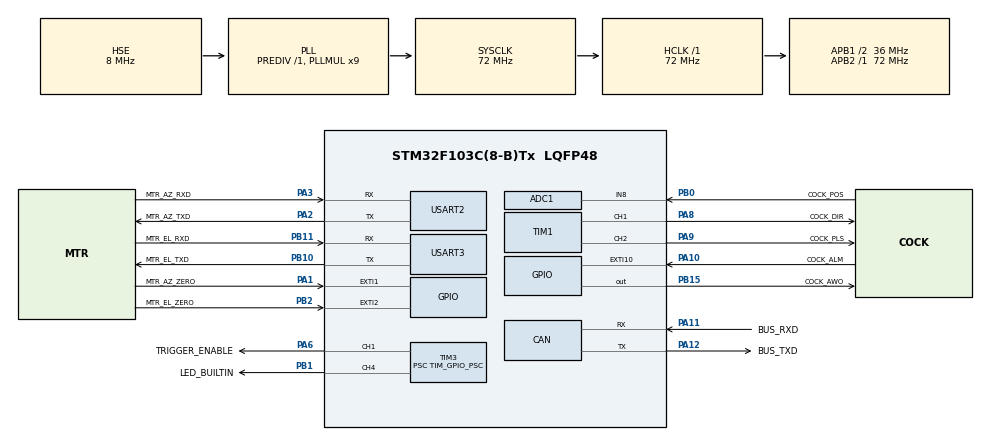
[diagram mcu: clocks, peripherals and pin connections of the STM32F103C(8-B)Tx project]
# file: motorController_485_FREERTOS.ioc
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ADC1.Channel-0\#ChannelRegularConversion=ADC_CHANNEL_8
ADC1.NbrOfConversionFlag=1
ADC1.Rank-0\#ChannelRegularConversion=1
ADC1.SamplingTime-0\#ChannelRegularConversion=ADC_SAMPLETIME_1CYCLE_5
ADC1.master=1
CAN.CalculateTimeBit=1333
CAN.CalculateTimeQuantum=444.44444444444446
FREERTOS.Mutexes01=AzUartRxMutex,Dynamic,NULL;AzUartTxMutex,Dynamic,NULL;ElUartRxMutex,Dynamic,NULL;ElUartTxMutex,Dynamic,NULL
FREERTOS.Tasks01=defaultTask,0,128,ThreadMain,Default,NULL,Dynamic,NULL,NULL;AzMainTask,-3,128,ThreadAzMain,Default,NULL,Dynamic,NULL,NULL;ElMainTask,-3,128,ThreadElMain,Default,NULL,Dynamic,NULL,NULL
Mcu.Family=STM32F1
Mcu.Name=STM32F103C(8-B)Tx
Mcu.Package=LQFP48
Mcu.UserConstants=TIM_GPIO_PSC,71;TIM_GPIO_ON,1000;TIM_GPIO_OFF,0
NVIC.CAN1_RX1_IRQn=true\:8\:0\:true\:false\:true\:true\:true
NVIC.EXTI1_IRQn=true\:11\:0\:true\:false\:true\:true\:true
NVIC.EXTI2_IRQn=true\:12\:0\:true\:false\:true\:true\:true
NVIC.PriorityGroup=NVIC_PRIORITYGROUP_4
NVIC.TIM4_IRQn=true\:0\:0\:false\:false\:true\:false\:false
NVIC.TimeBase=TIM4_IRQn
NVIC.TimeBaseIP=TIM4
NVIC.USART2_IRQn=true\:9\:0\:true\:false\:false\:true\:true
NVIC.USART3_IRQn=true\:10\:0\:true\:false\:false\:true\:true
NVIC.USB_HP_CAN1_TX_IRQn=true\:6\:0\:true\:false\:true\:true\:true
NVIC.USB_LP_CAN1_RX0_IRQn=true\:7\:0\:true\:false\:true\:true\:true
PA1.GPIO_Label=MTR_AZ_ZERO
PA1.GPIO_ModeDefaultEXTI=GPIO_MODE_IT_FALLING
PA1.GPIO_PuPd=GPIO_PULLUP
PA1.Signal=GPXTI1
PA10.GPIO_Label=COCK_ALM
PA10.GPIO_ModeDefaultEXTI=GPIO_MODE_IT_FALLING
PA10.GPIO_PuPd=GPIO_PULLUP
PA10.Signal=GPXTI10
PA11.GPIO_Label=BUS_RXD
PA11.GPIO_PuPd=GPIO_PULLUP
PA11.Mode=Master
PA11.Signal=CAN_RX
PA12.GPIO_Label=BUS_TXD
PA12.Mode=Master
PA12.Signal=CAN_TX
PA13.Mode=Serial_Wire
PA13.Signal=SYS_JTMS-SWDIO
PA14.Mode=Serial_Wire
PA14.Signal=SYS_JTCK-SWCLK
PA2.GPIO_Label=MTR_AZ_TXD
PA2.Mode=Asynchronous
PA2.Signal=USART2_TX
PA3.GPIO_Label=MTR_AZ_RXD
PA3.Mode=Asynchronous
PA3.Signal=USART2_RX
PA6.GPIO_Label=TRIGGER_ENABLE
PA6.GPIO_Speed=GPIO_SPEED_FREQ_HIGH
PA6.Signal=S_TIM3_CH1
PA8.GPIO_Label=COCK_DIR
PA8.GPIO_Speed=GPIO_SPEED_FREQ_HIGH
PA8.Signal=S_TIM1_CH1
PA9.GPIO_Label=COCK_PLS
PA9.GPIO_Speed=GPIO_SPEED_FREQ_HIGH
PA9.Signal=S_TIM1_CH2
PB0.GPIO_Label=COCK_POS
PB0.Signal=ADCx_IN8
PB1.GPIO_Label=LED_BUILTIN
PB1.GPIO_Speed=GPIO_SPEED_FREQ_MEDIUM
PB1.Signal=S_TIM3_CH4
PB10.GPIO_Label=MTR_EL_TXD
PB10.Mode=Asynchronous
PB10.Signal=USART3_TX
PB11.GPIO_Label=MTR_EL_RXD
PB11.Mode=Asynchronous
PB11.Signal=USART3_RX
PB15.GPIO_Label=COCK_AWO
PB15.GPIO_PuPd=GPIO_PULLUP
PB15.GPIO_Speed=GPIO_SPEED_FREQ_MEDIUM
PB15.Signal=GPIO_Output
PB2.GPIO_Label=MTR_EL_ZERO
PB2.GPIO_ModeDefaultEXTI=GPIO_MODE_IT_FALLING
PB2.GPIO_PuPd=GPIO_PULLUP
PB2.Signal=GPXTI2
PD0-OSC_IN.Mode=HSE-External-Oscillator
PD0-OSC_IN.Signal=RCC_OSC_IN
PD1-OSC_OUT.Mode=HSE-External-Oscillator
PD1-OSC_OUT.Signal=RCC_OSC_OUT
ProjectManager.HeapSize=0x200
ProjectManager.StackSize=0x400
ProjectManager.TargetToolchain=TrueSTUDIO
RCC.ADCPresc=RCC_ADCPCLK2_DIV6
RCC.AHBFreq_Value=72000000
RCC.APB1CLKDivider=RCC_HCLK_DIV2
RCC.APB1Freq_Value=36000000
RCC.APB1TimFreq_Value=72000000
RCC.APB2Freq_Value=72000000
RCC.APB2TimFreq_Value=72000000
RCC.HCLKFreq_Value=72000000
RCC.PLLMUL=RCC_PLL_MUL9
RCC.PLLSourceVirtual=RCC_PLLSOURCE_HSE
RCC.SYSCLKFreq_VALUE=72000000
RCC.SYSCLKSource=RCC_SYSCLKSOURCE_PLLCLK
RCC.USBFreq_Value=48000000
RCC.USBPrescaler=RCC_USBCLKSOURCE_PLL_DIV1_5
SH.ADCx_IN8.0=ADC1_IN8,IN8
SH.S_TIM1_CH1.0=TIM1_CH1,PWM Generation1 CH1
SH.S_TIM1_CH2.0=TIM1_CH2,PWM Generation2 CH2
SH.S_TIM3_CH1.0=TIM3_CH1,PWM Generation1 CH1
SH.S_TIM3_CH4.0=TIM3_CH4,PWM Generation4 CH4
TIM1.Channel-PWM\ Generation1\ CH1=TIM_CHANNEL_1
TIM1.Channel-PWM\ Generation2\ CH2=TIM_CHANNEL_2
TIM3.Channel-PWM\ Generation1\ CH1=TIM_CHANNEL_1
TIM3.Channel-PWM\ Generation4\ CH4=TIM_CHANNEL_4
TIM3.OCFastMode_PWM-PWM\ Generation4\ CH4=TIM_OCFAST_ENABLE
TIM3.Period=(TIM_GPIO_ON - 1)
TIM3.Prescaler=TIM_GPIO_PSC
TIM3.Pulse-PWM\ Generation4\ CH4=TIM_GPIO_OFF
USART2.VirtualMode=VM_ASYNC
USART3.VirtualMode=VM_ASYNC
VP_FREERTOS_VS_ENABLE.Mode=Enabled
VP_SYS_VS_tim4.Mode=TIM4
VP_TIM1_VS_ClockSourceINT.Mode=Internal
VP_TIM3_VS_ClockSourceINT.Mode=Internal
board=custom

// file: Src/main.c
/**
 ******************************************************************************
 * @file           : main.c
 * @brief          : Main program body
 ******************************************************************************
 * This notice applies to any and all portions of this file
 * that are not between comment pairs USER CODE BEGIN and
 * USER CODE END. Other portions of this file, whether
 * inserted by the user or by software development tools
 * are owned by their respective copyright owners.
 *
 * Copyright (c) 2018 STMicroelectronics International N.V.
 * All rights reserved.
 *
 * Redistribution and use in source and binary forms, with or without
 * modification, are permitted, provided that the following conditions are met:
 *
 * 1. Redistribution of source code must retain the above copyright notice,
 *    this list of conditions and the following disclaimer.
 * 2. Redistributions in binary form must reproduce the above copyright notice,
 *    this list of conditions and the following disclaimer in the documentation
 *    and/or other materials provided with the distribution.
 * 3. Neither the name of STMicroelectronics nor the names of other
 *    contributors to this software may be used to endorse or promote products
 *    derived from this software without specific written permission.
 * 4. This software, including modifications and/or derivative works of this
 *    software, must execute solely and exclusively on microcontroller or
 *    microprocessor devices manufactured by or for STMicroelectronics.
 * 5. Redistribution and use of this software other than as permitted under
 *    this license is void and will automatically terminate your rights under
 *    this license.
 *
 * THIS SOFTWARE IS PROVIDED BY STMICROELECTRONICS AND CONTRIBUTORS "AS IS"
 * AND ANY EXPRESS, IMPLIED OR STATUTORY WARRANTIES, INCLUDING, BUT NOT
 * LIMITED TO, THE IMPLIED WARRANTIES OF MERCHANTABILITY, FITNESS FOR A
 * PARTICULAR PURPOSE AND NON-INFRINGEMENT OF THIRD PARTY INTELLECTUAL PROPERTY
 * RIGHTS ARE DISCLAIMED TO THE FULLEST EXTENT PERMITTED BY LAW. IN NO EVENT
 * SHALL STMICROELECTRONICS OR CONTRIBUTORS BE LIABLE FOR ANY DIRECT, INDIRECT,
 * INCIDENTAL, SPECIAL, EXEMPLARY, OR CONSEQUENTIAL DAMAGES (INCLUDING, BUT NOT
 * LIMITED TO, PROCUREMENT OF SUBSTITUTE GOODS OR SERVICES; LOSS OF USE, DATA,
 * OR PROFITS; OR BUSINESS INTERRUPTION) HOWEVER CAUSED AND ON ANY THEORY OF
 * LIABILITY, WHETHER IN CONTRACT, STRICT LIABILITY, OR TORT (INCLUDING
 * NEGLIGENCE OR OTHERWISE) ARISING IN ANY WAY OUT OF THE USE OF THIS SOFTWARE,
 * EVEN IF ADVISED OF THE POSSIBILITY OF SUCH DAMAGE.
 *
 ******************************************************************************
 */
#include "main.h"
#include "stm32f1xx_hal.h"
#include "cmsis_os.h"

/* USER CODE BEGIN Includes */
#include <string.h>
/* USER CODE END Includes */

ADC_HandleTypeDef hadc1;

CAN_HandleTypeDef hcan;

TIM_HandleTypeDef htim1;
TIM_HandleTypeDef htim3;

UART_HandleTypeDef huart2;
UART_HandleTypeDef huart3;

osThreadId defaultTaskHandle;
osThreadId AzMainTaskHandle;
osThreadId ElMainTaskHandle;
osMutexId AzUartRxMutexHandle;
osMutexId AzUartTxMutexHandle;
osMutexId ElUartRxMutexHandle;
osMutexId ElUartTxMutexHandle;

/* USER CODE BEGIN PV */
/* Private variables ---------------------------------------------------------*/
/* TODO Global Variables*/

/* USER CODE END PV */

void SystemClock_Config(void);
static void MX_GPIO_Init(void);
static void MX_CAN_Init(void);
static void MX_USART3_UART_Init(void);
static void MX_TIM3_Init(void);
static void MX_ADC1_Init(void);
static void MX_TIM1_Init(void);
static void MX_USART2_UART_Init(void);
void ThreadMain(void const * argument);
void ThreadAzMain(void const * argument);
void ThreadElMain(void const * argument);

void HAL_TIM_MspPostInit(TIM_HandleTypeDef *htim);

/* USER CODE BEGIN PFP */
/* Private function prototypes -----------------------------------------------*/
/* TODO Function Prototypes*/

/* USER CODE END PFP */

int main(void)
{

	/* MCU Configuration----------------------------------------------------------*/

	/* Reset of all peripherals, Initializes the Flash interface and the Systick. */
	HAL_Init();

	/* Configure the system clock */
	SystemClock_Config();

	/* Initialize all configured peripherals */
	MX_GPIO_Init();
	MX_CAN_Init();
	MX_USART3_UART_Init();
	MX_TIM3_Init();
	MX_ADC1_Init();
	MX_TIM1_Init();
	MX_USART2_UART_Init();
	/* USER CODE BEGIN 2 */
	/* TODO Initialization*/

	/* USER CODE END 2 */

	/* Create the mutex(es) */
	/* definition and creation of AzUartRxMutex */
	osMutexDef(AzUartRxMutex);
	AzUartRxMutexHandle = osMutexCreate(osMutex(AzUartRxMutex));

	/* definition and creation of AzUartTxMutex */
	osMutexDef(AzUartTxMutex);
	AzUartTxMutexHandle = osMutexCreate(osMutex(AzUartTxMutex));

	/* definition and creation of ElUartRxMutex */
	osMutexDef(ElUartRxMutex);
	ElUartRxMutexHandle = osMutexCreate(osMutex(ElUartRxMutex));

	/* definition and creation of ElUartTxMutex */
	osMutexDef(ElUartTxMutex);
	ElUartTxMutexHandle = osMutexCreate(osMutex(ElUartTxMutex));

	/* Create the thread(s) */
	/* definition and creation of defaultTask */
	osThreadDef(defaultTask, ThreadMain, osPriorityNormal, 0, 128);
	defaultTaskHandle = osThreadCreate(osThread(defaultTask), NULL);

	/* definition and creation of AzMainTask */
	osThreadDef(AzMainTask, ThreadAzMain, osPriorityIdle, 0, 128);
	AzMainTaskHandle = osThreadCreate(osThread(AzMainTask), NULL);

	/* definition and creation of ElMainTask */
	osThreadDef(ElMainTask, ThreadElMain, osPriorityIdle, 0, 128);
	ElMainTaskHandle = osThreadCreate(osThread(ElMainTask), NULL);

	/* Start scheduler */
	osKernelStart();

	/* We should never get here as control is now taken by the scheduler */

	/* Infinite loop */
	while (1) {

	}

}

void SystemClock_Config(void)
{

	RCC_OscInitTypeDef RCC_OscInitStruct;
	RCC_ClkInitTypeDef RCC_ClkInitStruct;
	RCC_PeriphCLKInitTypeDef PeriphClkInit;

	/**Initializes the CPU, AHB and APB busses clocks
	 */
	RCC_OscInitStruct.OscillatorType = RCC_OSCILLATORTYPE_HSE;
	RCC_OscInitStruct.HSEState = RCC_HSE_ON;
	RCC_OscInitStruct.HSEPredivValue = RCC_HSE_PREDIV_DIV1;
	RCC_OscInitStruct.HSIState = RCC_HSI_ON;
	RCC_OscInitStruct.PLL.PLLState = RCC_PLL_ON;
	RCC_OscInitStruct.PLL.PLLSource = RCC_PLLSOURCE_HSE;
	RCC_OscInitStruct.PLL.PLLMUL = RCC_PLL_MUL9;
	if (HAL_RCC_OscConfig(&RCC_OscInitStruct) != HAL_OK) {
		_Error_Handler(__FILE__, __LINE__);
	}

	/**Initializes the CPU, AHB and APB busses clocks
	 */
	RCC_ClkInitStruct.ClockType = RCC_CLOCKTYPE_HCLK | RCC_CLOCKTYPE_SYSCLK | RCC_CLOCKTYPE_PCLK1
			| RCC_CLOCKTYPE_PCLK2;
	RCC_ClkInitStruct.SYSCLKSource = RCC_SYSCLKSOURCE_PLLCLK;
	RCC_ClkInitStruct.AHBCLKDivider = RCC_SYSCLK_DIV1;
	RCC_ClkInitStruct.APB1CLKDivider = RCC_HCLK_DIV2;
	RCC_ClkInitStruct.APB2CLKDivider = RCC_HCLK_DIV1;

	if (HAL_RCC_ClockConfig(&RCC_ClkInitStruct, FLASH_LATENCY_2) != HAL_OK) {
		_Error_Handler(__FILE__, __LINE__);
	}

	PeriphClkInit.PeriphClockSelection = RCC_PERIPHCLK_ADC;
	PeriphClkInit.AdcClockSelection = RCC_ADCPCLK2_DIV6;
	if (HAL_RCCEx_PeriphCLKConfig(&PeriphClkInit) != HAL_OK) {
		_Error_Handler(__FILE__, __LINE__);
	}

	/**Configure the Systick interrupt time
	 */
	HAL_SYSTICK_Config(HAL_RCC_GetHCLKFreq() / 1000);

	/**Configure the Systick
	 */
	HAL_SYSTICK_CLKSourceConfig(SYSTICK_CLKSOURCE_HCLK);

	/* SysTick_IRQn interrupt configuration */
	HAL_NVIC_SetPriority(SysTick_IRQn, 15, 0);
}

/* ADC1 init function */
static void MX_ADC1_Init(void)
{

	ADC_ChannelConfTypeDef sConfig;

	/**Common config
	 */
	hadc1.Instance = ADC1;
	hadc1.Init.ScanConvMode = ADC_SCAN_DISABLE;
	hadc1.Init.ContinuousConvMode = DISABLE;
	hadc1.Init.DiscontinuousConvMode = DISABLE;
	hadc1.Init.ExternalTrigConv = ADC_SOFTWARE_START;
	hadc1.Init.DataAlign = ADC_DATAALIGN_RIGHT;
	hadc1.Init.NbrOfConversion = 1;
	if (HAL_ADC_Init(&hadc1) != HAL_OK) {
		_Error_Handler(__FILE__, __LINE__);
	}

	/**Configure Regular Channel
	 */
	sConfig.Channel = ADC_CHANNEL_8;
	sConfig.Rank = ADC_REGULAR_RANK_1;
	sConfig.SamplingTime = ADC_SAMPLETIME_1CYCLE_5;
	if (HAL_ADC_ConfigChannel(&hadc1, &sConfig) != HAL_OK) {
		_Error_Handler(__FILE__, __LINE__);
	}

}

/* CAN init function */
static void MX_CAN_Init(void)
{

	hcan.Instance = CAN1;
	hcan.Init.Prescaler = 16;
	hcan.Init.Mode = CAN_MODE_NORMAL;
	hcan.Init.SJW = CAN_SJW_1TQ;
	hcan.Init.BS1 = CAN_BS1_1TQ;
	hcan.Init.BS2 = CAN_BS2_1TQ;
	hcan.Init.TTCM = DISABLE;
	hcan.Init.ABOM = DISABLE;
	hcan.Init.AWUM = DISABLE;
	hcan.Init.NART = DISABLE;
	hcan.Init.RFLM = DISABLE;
	hcan.Init.TXFP = DISABLE;
	if (HAL_CAN_Init(&hcan) != HAL_OK) {
		_Error_Handler(__FILE__, __LINE__);
	}

}

/* TIM1 init function */
static void MX_TIM1_Init(void)
{

	TIM_ClockConfigTypeDef sClockSourceConfig;
	TIM_MasterConfigTypeDef sMasterConfig;
	TIM_OC_InitTypeDef sConfigOC;
	TIM_BreakDeadTimeConfigTypeDef sBreakDeadTimeConfig;

	htim1.Instance = TIM1;
	htim1.Init.Prescaler = 0;
	htim1.Init.CounterMode = TIM_COUNTERMODE_UP;
	htim1.Init.Period = 0;
	htim1.Init.ClockDivision = TIM_CLOCKDIVISION_DIV1;
	htim1.Init.RepetitionCounter = 0;
	htim1.Init.AutoReloadPreload = TIM_AUTORELOAD_PRELOAD_DISABLE;
	if (HAL_TIM_Base_Init(&htim1) != HAL_OK) {
		_Error_Handler(__FILE__, __LINE__);
	}

	sClockSourceConfig.ClockSource = TIM_CLOCKSOURCE_INTERNAL;
	if (HAL_TIM_ConfigClockSource(&htim1, &sClockSourceConfig) != HAL_OK) {
		_Error_Handler(__FILE__, __LINE__);
	}

	if (HAL_TIM_PWM_Init(&htim1) != HAL_OK) {
		_Error_Handler(__FILE__, __LINE__);
	}

	sMasterConfig.MasterOutputTrigger = TIM_TRGO_RESET;
	sMasterConfig.MasterSlaveMode = TIM_MASTERSLAVEMODE_DISABLE;
	if (HAL_TIMEx_MasterConfigSynchronization(&htim1, &sMasterConfig) != HAL_OK) {
		_Error_Handler(__FILE__, __LINE__);
	}

	sConfigOC.OCMode = TIM_OCMODE_PWM1;
	sConfigOC.Pulse = 0;
	sConfigOC.OCPolarity = TIM_OCPOLARITY_HIGH;
	sConfigOC.OCNPolarity = TIM_OCNPOLARITY_HIGH;
	sConfigOC.OCFastMode = TIM_OCFAST_DISABLE;
	sConfigOC.OCIdleState = TIM_OCIDLESTATE_RESET;
	sConfigOC.OCNIdleState = TIM_OCNIDLESTATE_RESET;
	if (HAL_TIM_PWM_ConfigChannel(&htim1, &sConfigOC, TIM_CHANNEL_1) != HAL_OK) {
		_Error_Handler(__FILE__, __LINE__);
	}

	if (HAL_TIM_PWM_ConfigChannel(&htim1, &sConfigOC, TIM_CHANNEL_2) != HAL_OK) {
		_Error_Handler(__FILE__, __LINE__);
	}

	sBreakDeadTimeConfig.OffStateRunMode = TIM_OSSR_DISABLE;
	sBreakDeadTimeConfig.OffStateIDLEMode = TIM_OSSI_DISABLE;
	sBreakDeadTimeConfig.LockLevel = TIM_LOCKLEVEL_OFF;
	sBreakDeadTimeConfig.DeadTime = 0;
	sBreakDeadTimeConfig.BreakState = TIM_BREAK_DISABLE;
	sBreakDeadTimeConfig.BreakPolarity = TIM_BREAKPOLARITY_HIGH;
	sBreakDeadTimeConfig.AutomaticOutput = TIM_AUTOMATICOUTPUT_DISABLE;
	if (HAL_TIMEx_ConfigBreakDeadTime(&htim1, &sBreakDeadTimeConfig) != HAL_OK) {
		_Error_Handler(__FILE__, __LINE__);
	}

	HAL_TIM_MspPostInit(&htim1);

}

/* TIM3 init function */
static void MX_TIM3_Init(void)
{

	TIM_ClockConfigTypeDef sClockSourceConfig;
	TIM_MasterConfigTypeDef sMasterConfig;
	TIM_OC_InitTypeDef sConfigOC;

	htim3.Instance = TIM3;
	htim3.Init.Prescaler = TIM_GPIO_PSC;
	htim3.Init.CounterMode = TIM_COUNTERMODE_UP;
	htim3.Init.Period = (TIM_GPIO_ON - 1);
	htim3.Init.ClockDivision = TIM_CLOCKDIVISION_DIV1;
	htim3.Init.AutoReloadPreload = TIM_AUTORELOAD_PRELOAD_DISABLE;
	if (HAL_TIM_Base_Init(&htim3) != HAL_OK) {
		_Error_Handler(__FILE__, __LINE__);
	}

	sClockSourceConfig.ClockSource = TIM_CLOCKSOURCE_INTERNAL;
	if (HAL_TIM_ConfigClockSource(&htim3, &sClockSourceConfig) != HAL_OK) {
		_Error_Handler(__FILE__, __LINE__);
	}

	if (HAL_TIM_PWM_Init(&htim3) != HAL_OK) {
		_Error_Handler(__FILE__, __LINE__);
	}

	sMasterConfig.MasterOutputTrigger = TIM_TRGO_RESET;
	sMasterConfig.MasterSlaveMode = TIM_MASTERSLAVEMODE_DISABLE;
	if (HAL_TIMEx_MasterConfigSynchronization(&htim3, &sMasterConfig) != HAL_OK) {
		_Error_Handler(__FILE__, __LINE__);
	}

	sConfigOC.OCMode = TIM_OCMODE_PWM1;
	sConfigOC.Pulse = 0;
	sConfigOC.OCPolarity = TIM_OCPOLARITY_HIGH;
	sConfigOC.OCFastMode = TIM_OCFAST_DISABLE;
	if (HAL_TIM_PWM_ConfigChannel(&htim3, &sConfigOC, TIM_CHANNEL_1) != HAL_OK) {
		_Error_Handler(__FILE__, __LINE__);
	}

	sConfigOC.Pulse = TIM_GPIO_OFF;
	sConfigOC.OCFastMode = TIM_OCFAST_ENABLE;
	if (HAL_TIM_PWM_ConfigChannel(&htim3, &sConfigOC, TIM_CHANNEL_4) != HAL_OK) {
		_Error_Handler(__FILE__, __LINE__);
	}

	HAL_TIM_MspPostInit(&htim3);

}

/* USART2 init function */
static void MX_USART2_UART_Init(void)
{

	huart2.Instance = USART2;
	huart2.Init.BaudRate = 115200;
	huart2.Init.WordLength = UART_WORDLENGTH_8B;
	huart2.Init.StopBits = UART_STOPBITS_1;
	huart2.Init.Parity = UART_PARITY_NONE;
	huart2.Init.Mode = UART_MODE_TX_RX;
	huart2.Init.HwFlowCtl = UART_HWCONTROL_NONE;
	huart2.Init.OverSampling = UART_OVERSAMPLING_16;
	if (HAL_UART_Init(&huart2) != HAL_OK) {
		_Error_Handler(__FILE__, __LINE__);
	}

}

/* USART3 init function */
static void MX_USART3_UART_Init(void)
{

	huart3.Instance = USART3;
	huart3.Init.BaudRate = 115200;
	huart3.Init.WordLength = UART_WORDLENGTH_8B;
	huart3.Init.StopBits = UART_STOPBITS_1;
	huart3.Init.Parity = UART_PARITY_NONE;
	huart3.Init.Mode = UART_MODE_TX_RX;
	huart3.Init.HwFlowCtl = UART_HWCONTROL_NONE;
	huart3.Init.OverSampling = UART_OVERSAMPLING_16;
	if (HAL_UART_Init(&huart3) != HAL_OK) {
		_Error_Handler(__FILE__, __LINE__);
	}

}

/** Configure pins as
 * Analog
 * Input
 * Output
 * EVENT_OUT
 * EXTI
 * Free pins are configured automatically as Analog (this feature is enabled through
 * the Code Generation settings)
 */
static void MX_GPIO_Init(void)
{

	GPIO_InitTypeDef GPIO_InitStruct;

	/* GPIO Ports Clock Enable */
	__HAL_RCC_GPIOC_CLK_ENABLE()
	;
	__HAL_RCC_GPIOD_CLK_ENABLE()
	;
	__HAL_RCC_GPIOA_CLK_ENABLE()
	;
	__HAL_RCC_GPIOB_CLK_ENABLE()
	;

	/*Configure GPIO pin Output Level */
	HAL_GPIO_WritePin(COCK_AWO_GPIO_Port, COCK_AWO_Pin, GPIO_PIN_RESET);

	/*Configure GPIO pins : PC13 PC14 PC15 */
	GPIO_InitStruct.Pin = GPIO_PIN_13 | GPIO_PIN_14 | GPIO_PIN_15;
	GPIO_InitStruct.Mode = GPIO_MODE_ANALOG;
	HAL_GPIO_Init(GPIOC, &GPIO_InitStruct);

	/*Configure GPIO pins : PA0 PA4 PA5 PA7
	 PA15 */
	GPIO_InitStruct.Pin = GPIO_PIN_0 | GPIO_PIN_4 | GPIO_PIN_5 | GPIO_PIN_7 | GPIO_PIN_15;
	GPIO_InitStruct.Mode = GPIO_MODE_ANALOG;
	HAL_GPIO_Init(GPIOA, &GPIO_InitStruct);

	/*Configure GPIO pins : MTR_AZ_ZERO_Pin COCK_ALM_Pin */
	GPIO_InitStruct.Pin = MTR_AZ_ZERO_Pin | COCK_ALM_Pin;
	GPIO_InitStruct.Mode = GPIO_MODE_IT_FALLING;
	GPIO_InitStruct.Pull = GPIO_PULLUP;
	HAL_GPIO_Init(GPIOA, &GPIO_InitStruct);

	/*Configure GPIO pin : MTR_EL_ZERO_Pin */
	GPIO_InitStruct.Pin = MTR_EL_ZERO_Pin;
	GPIO_InitStruct.Mode = GPIO_MODE_IT_FALLING;
	GPIO_InitStruct.Pull = GPIO_PULLUP;
	HAL_GPIO_Init(MTR_EL_ZERO_GPIO_Port, &GPIO_InitStruct);

	/*Configure GPIO pins : PB12 PB13 PB14 PB3
	 PB4 PB5 PB6 PB7
	 PB8 PB9 */
	GPIO_InitStruct.Pin = GPIO_PIN_12 | GPIO_PIN_13 | GPIO_PIN_14 | GPIO_PIN_3 | GPIO_PIN_4
			| GPIO_PIN_5 | GPIO_PIN_6 | GPIO_PIN_7 | GPIO_PIN_8 | GPIO_PIN_9;
	GPIO_InitStruct.Mode = GPIO_MODE_ANALOG;
	HAL_GPIO_Init(GPIOB, &GPIO_InitStruct);

	/*Configure GPIO pin : COCK_AWO_Pin */
	GPIO_InitStruct.Pin = COCK_AWO_Pin;
	GPIO_InitStruct.Mode = GPIO_MODE_OUTPUT_PP;
	GPIO_InitStruct.Pull = GPIO_PULLUP;
	GPIO_InitStruct.Speed = GPIO_SPEED_FREQ_MEDIUM;
	HAL_GPIO_Init(COCK_AWO_GPIO_Port, &GPIO_InitStruct);

	/* EXTI interrupt init*/
	HAL_NVIC_SetPriority(EXTI1_IRQn, 11, 0);
	HAL_NVIC_EnableIRQ(EXTI1_IRQn);

	HAL_NVIC_SetPriority(EXTI2_IRQn, 12, 0);
	HAL_NVIC_EnableIRQ(EXTI2_IRQn);

}

/* USER CODE BEGIN 4 */
/* TODO Non-hardware Functions*/

/* TODO Hardware related Functions*/
ITStatus uart_irq_Handler(UART_HandleTypeDef *huart, Ring_Buffer_t *buffer)
{
	uint32_t isrflags = READ_REG(huart->Instance->SR);
	uint32_t cr1its = READ_REG(huart->Instance->CR1);
	uint32_t errorflags = 0x00U;
	char c;
	ITStatus ret = RESET;

	/* If no error occurs */
	errorflags = (isrflags & (uint32_t) (USART_SR_PE | USART_SR_FE | USART_SR_ORE | USART_SR_NE));
	if (errorflags == RESET) {
		/* UART in mode Receiver -------------------------------------------------*/
		if (((isrflags & USART_SR_RXNE) != RESET) && ((cr1its & USART_CR1_RXNEIE) != RESET)) {
			c = (char) (huart->Instance->DR & 0xFF);
			if (c == '\n')
				ret = SET;

			ring_buffer_write(buffer, c);
		}
	}

	return ret;
}

void USART2_IRQHandler(void)
{
	uint32_t isrflags = READ_REG(huart2.Instance->SR);
	char c;

	/* RXNE handler */
	if ((isrflags & USART_SR_RXNE) != RESET)
	{
		c = (char) (huart1.Instance->DR & (uint8_t) 0x00FF);
		ring_buffer_write(&uartBuffer, c);
		if (c == CMD_CHAR_ENDLINE)
			uart1RxReady = SET;
	}

	/* ------------------------------------------------------------ */
	/* Other USART1 interrupts handler can go here ...             */
}

void USART3_IRQHandler(void)
{

}

/* TODO Thread Functions*/
/* USER CODE END 4 */

/* ThreadMain function */
void ThreadMain(void const * argument)
{

	/* USER CODE BEGIN 5 */
	/* TODO Main Thread*/
	/* Infinite loop */
	for ( ;; ) {
		osDelay(1);
	}
	/* USER CODE END 5 */
}

/* ThreadAzMain function */
void ThreadAzMain(void const * argument)
{
	/* USER CODE BEGIN ThreadAzMain */
	/* TODO Azimuth main thread*/

	/* Infinite loop */
	for ( ;; ) {
		osDelay(1);
	}
	/* USER CODE END ThreadAzMain */
}

/* ThreadElMain function */
void ThreadElMain(void const * argument)
{
	/* USER CODE BEGIN ThreadElMain */
	/* TODO Elevation main thread*/

	/* Infinite loop */
	for ( ;; ) {
		osDelay(1);
	}
	/* USER CODE END ThreadElMain */
}

void HAL_TIM_PeriodElapsedCallback(TIM_HandleTypeDef *htim)
{
	if (htim->Instance == TIM4) {
		HAL_IncTick();
	}
}

void _Error_Handler(char *file, int line)
{
	while (1) {
	}
}

/************************ (C) COPYRIGHT STMicroelectronics *****END OF FILE****/
